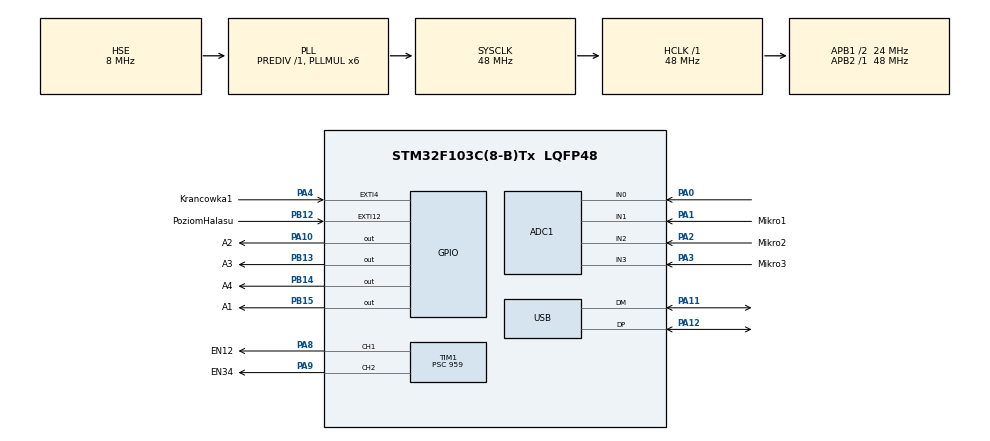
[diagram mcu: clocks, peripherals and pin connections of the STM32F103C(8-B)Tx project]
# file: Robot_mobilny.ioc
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ADC1.Channel-1\#ChannelRegularConversion=ADC_CHANNEL_0
ADC1.Channel-10\#ChannelRegularConversion=ADC_CHANNEL_3
ADC1.Channel-6\#ChannelRegularConversion=ADC_CHANNEL_1
ADC1.Channel-9\#ChannelRegularConversion=ADC_CHANNEL_2
ADC1.ContinuousConvMode=ENABLE
ADC1.EnableAnalogWatchDog=false
ADC1.EnableRegularConversion=ENABLE
ADC1.NbrOfConversion=4
ADC1.NbrOfConversionFlag=1
ADC1.Rank-1\#ChannelRegularConversion=1
ADC1.Rank-10\#ChannelRegularConversion=4
ADC1.Rank-6\#ChannelRegularConversion=2
ADC1.Rank-9\#ChannelRegularConversion=3
ADC1.SamplingTime-1\#ChannelRegularConversion=ADC_SAMPLETIME_71CYCLES_5
ADC1.SamplingTime-10\#ChannelRegularConversion=ADC_SAMPLETIME_71CYCLES_5
ADC1.SamplingTime-6\#ChannelRegularConversion=ADC_SAMPLETIME_71CYCLES_5
ADC1.SamplingTime-9\#ChannelRegularConversion=ADC_SAMPLETIME_71CYCLES_5
ADC1.master=1
Dma.ADC1.0.Direction=DMA_PERIPH_TO_MEMORY
Dma.ADC1.0.Instance=DMA1_Channel1
Dma.ADC1.0.MemDataAlignment=DMA_MDATAALIGN_WORD
Dma.ADC1.0.MemInc=DMA_MINC_ENABLE
Dma.ADC1.0.Mode=DMA_CIRCULAR
Dma.ADC1.0.PeriphDataAlignment=DMA_PDATAALIGN_BYTE
Dma.ADC1.0.PeriphInc=DMA_PINC_DISABLE
Dma.ADC1.0.Priority=DMA_PRIORITY_LOW
Dma.Request0=ADC1
Mcu.Family=STM32F1
Mcu.Name=STM32F103C(8-B)Tx
Mcu.Package=LQFP48
NVIC.DMA1_Channel1_IRQn=true\:0\:0\:false\:false\:true\:false\:true
NVIC.EXTI15_10_IRQn=true\:0\:0\:false\:false\:true\:true\:true
NVIC.EXTI4_IRQn=true\:0\:0\:false\:false\:true\:true\:true
NVIC.PriorityGroup=NVIC_PRIORITYGROUP_4
NVIC.USB_LP_CAN1_RX0_IRQn=true\:0\:0\:false\:false\:true\:false\:true
PA0-WKUP.Signal=ADCx_IN0
PA1.GPIO_Label=Mikro1
PA1.Signal=ADCx_IN1
PA10.GPIO_Label=A2
PA10.GPIO_PuPd=GPIO_PULLDOWN
PA10.PinState=GPIO_PIN_SET
PA10.Signal=GPIO_Output
PA11.Mode=Device
PA11.Signal=USB_DM
PA12.Mode=Device
PA12.Signal=USB_DP
PA13.Mode=Serial_Wire
PA13.Signal=SYS_JTMS-SWDIO
PA14.Mode=Serial_Wire
PA14.Signal=SYS_JTCK-SWCLK
PA2.GPIO_Label=Mikro2
PA2.Signal=ADCx_IN2
PA3.GPIO_Label=Mikro3
PA3.Signal=ADCx_IN3
PA4.GPIO_Label=Krancowka1
PA4.GPIO_ModeDefaultEXTI=GPIO_MODE_IT_FALLING
PA4.GPIO_PuPd=GPIO_PULLUP
PA4.Signal=GPXTI4
PA8.GPIO_Label=EN12
PA8.Signal=S_TIM1_CH1
PA9.GPIO_Label=EN34
PA9.Signal=S_TIM1_CH2
PB12.GPIO_Label=PoziomHalasu
PB12.GPIO_ModeDefaultEXTI=GPIO_MODE_IT_FALLING
PB12.GPIO_PuPd=GPIO_PULLUP
PB12.Signal=GPXTI12
PB13.GPIO_Label=A3
PB13.GPIO_PuPd=GPIO_PULLDOWN
PB13.PinState=GPIO_PIN_SET
PB13.Signal=GPIO_Output
PB14.GPIO_Label=A4
PB14.GPIO_PuPd=GPIO_PULLDOWN
PB14.PinState=GPIO_PIN_SET
PB14.Signal=GPIO_Output
PB15.GPIO_Label=A1
PB15.GPIO_ModeDefaultOutputPP=GPIO_MODE_OUTPUT_PP
PB15.GPIO_PuPd=GPIO_PULLDOWN
PB15.PinState=GPIO_PIN_SET
PB15.Signal=GPIO_Output
PD0-OSC_IN.Mode=HSE-External-Oscillator
PD0-OSC_IN.Signal=RCC_OSC_IN
PD1-OSC_OUT.Mode=HSE-External-Oscillator
PD1-OSC_OUT.Signal=RCC_OSC_OUT
ProjectManager.HeapSize=0x200
ProjectManager.StackSize=0x400
ProjectManager.TargetToolchain=TrueSTUDIO
RCC.ADCPresc=RCC_ADCPCLK2_DIV4
RCC.AHBFreq_Value=48000000
RCC.APB1CLKDivider=RCC_HCLK_DIV2
RCC.APB1Freq_Value=24000000
RCC.APB1TimFreq_Value=48000000
RCC.APB2Freq_Value=48000000
RCC.APB2TimFreq_Value=48000000
RCC.HCLKFreq_Value=48000000
RCC.PLLMUL=RCC_PLL_MUL6
RCC.SYSCLKFreq_VALUE=48000000
RCC.SYSCLKSource=RCC_SYSCLKSOURCE_PLLCLK
RCC.USBFreq_Value=48000000
SH.ADCx_IN0.0=ADC1_IN0,IN0
SH.ADCx_IN1.0=ADC1_IN1,IN1
SH.ADCx_IN2.0=ADC1_IN2,IN2
SH.ADCx_IN3.0=ADC1_IN3,IN3
SH.S_TIM1_CH1.0=TIM1_CH1,PWM Generation1 CH1
SH.S_TIM1_CH2.0=TIM1_CH2,PWM Generation2 CH2
TIM1.Channel-PWM\ Generation1\ CH1=TIM_CHANNEL_1
TIM1.Channel-PWM\ Generation2\ CH2=TIM_CHANNEL_2
TIM1.Period=999
TIM1.Prescaler=959
USB_DEVICE.CLASS_NAME_FS=CDC
USB_DEVICE.VirtualMode=Cdc
USB_DEVICE.VirtualModeFS=Cdc_FS
VP_TIM1_VS_ClockSourceINT.Mode=Internal
VP_USB_DEVICE_VS_USB_DEVICE_CDC_FS.Mode=CDC_FS
board=custom

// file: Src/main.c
/* USER CODE BEGIN Header */
/**
  ******************************************************************************
  * @file           : main.c
  * @brief          : Main program body
  ******************************************************************************
  * @attention
  *
  * <h2><center>&copy; Copyright (c) 2019 STMicroelectronics.
  * All rights reserved.</center></h2>
  *
  * This software component is licensed by ST under BSD 3-Clause license,
  * the "License"; You may not use this file except in compliance with the
  * License. You may obtain a copy of the License at:
  *                        opensource.org/licenses/BSD-3-Clause
  *
  ******************************************************************************
  */
/* USER CODE END Header */

#include "main.h"
#include "adc.h"
#include "dma.h"
#include "tim.h"
#include "usb_device.h"
#include "gpio.h"

/* USER CODE BEGIN Includes */
#include "usbd_cdc_if.h"
/* USER CODE END Includes */

/* USER CODE BEGIN PV */
//Zmienne przycisk************************************
volatile GPIO_PinState StanPrzycisku;
volatile GPIO_PinState PoprzedniStanPrzycisku = GPIO_PIN_SET;
volatile uint32_t PoprzedniCzasPrzycisku;

//****************************************************
//Zmiana stanu przycisku2*****************************
GPIO_PinState StanPrzycisku2;
GPIO_PinState PoprzedniStanPrzycisku2 = GPIO_PIN_SET;
uint32_t PoprzedniCzasPrzycisku2;
//***************************************************

const uint16_t ProgiHalasu[] = { 50, 100, 150, 250, 300};
volatile uint8_t KtoryProgHalasu;
uint32_t adc[4];
uint32_t adc1,adc2,adc3,adc4;
/* USER CODE END PV */

void SystemClock_Config(void);
/* USER CODE BEGIN PFP */

int adc_read(uint32_t channel)
{

	 ADC_ChannelConfTypeDef adc_ch;
	 adc_ch.Channel = channel;

	 adc_ch.SamplingTime = ADC_SAMPLETIME_71CYCLES_5;
	 adc_ch.Rank = ADC_REGULAR_RANK_1;

	 HAL_ADC_ConfigChannel(&hadc1, &adc_ch);

	 HAL_ADC_Start(&hadc1);
	 HAL_ADC_PollForConversion(&hadc1, 100);

	 return HAL_ADC_GetValue(&hadc1);
}

void ruchPrzod(uint16_t v, uint16_t t){

	HAL_GPIO_WritePin(A1_GPIO_Port, A1_Pin, GPIO_PIN_RESET);
	HAL_GPIO_WritePin(A2_GPIO_Port, A2_Pin, GPIO_PIN_SET);
	HAL_GPIO_WritePin(A3_GPIO_Port, A3_Pin, GPIO_PIN_SET);
	HAL_GPIO_WritePin(A4_GPIO_Port, A4_Pin, GPIO_PIN_RESET);

	if(v > 1000) v = 1000;

	TIM1->CCR1  = v;
	TIM1->CCR2 = v;

	for(int i=0; i<t; i++){
		HAL_Delay(1);
	}

	TIM1->CCR1 = 0;
	TIM1->CCR2 = 0;

}

void obrot_lewo(uint16_t v, uint16_t t)
{
	   HAL_GPIO_WritePin(A1_GPIO_Port, A1_Pin, GPIO_PIN_SET);
	   HAL_GPIO_WritePin(A2_GPIO_Port, A2_Pin, GPIO_PIN_RESET);
	   HAL_GPIO_WritePin(A3_GPIO_Port, A3_Pin, GPIO_PIN_SET);
	   HAL_GPIO_WritePin(A4_GPIO_Port, A4_Pin, GPIO_PIN_RESET);

	if(v > 1000) v = 1000;

	TIM1->CCR1  = v;
	TIM1->CCR2 = v;

	for(int i=0; i<t; i++){
		HAL_Delay(1);

	}

	TIM1->CCR1 = 0;
	TIM1->CCR2 = 0;

}

void obrot_prawo(uint16_t v, uint16_t t){
	   HAL_GPIO_WritePin(A1_GPIO_Port, A1_Pin, GPIO_PIN_RESET);
	   HAL_GPIO_WritePin(A2_GPIO_Port, A2_Pin, GPIO_PIN_SET);
	   HAL_GPIO_WritePin(A3_GPIO_Port, A3_Pin, GPIO_PIN_RESET);
	   HAL_GPIO_WritePin(A4_GPIO_Port, A4_Pin, GPIO_PIN_SET);

		if(v>1000) v = 1000;
		TIM1->CCR1  = v;
		TIM1->CCR2 = v;
		for(int i=0; i<t; i++){
			HAL_Delay(1);

		}
		TIM1->CCR1 = 0;
		TIM1->CCR2 = 0;

}
void obrot180(){
obrot_lewo(1000,2000);
}

/* USER CODE END PFP */

int main(void)
{

  /* MCU Configuration--------------------------------------------------------*/

  /* Reset of all peripherals, Initializes the Flash interface and the Systick. */
  HAL_Init();

  /* Configure the system clock */
  SystemClock_Config();

  /* Initialize all configured peripherals */
  MX_GPIO_Init();
  MX_DMA_Init();
  MX_ADC1_Init();
  MX_USB_DEVICE_Init();
  MX_TIM1_Init();
  /* USER CODE BEGIN 2 */

  //HAL_ADCEx_Calibration_Start(&hadc1);

  //HAL_TIM_Base_Start(&htim1);
  HAL_TIM_PWM_Start(&htim1, TIM_CHANNEL_1);
  HAL_TIM_PWM_Start(&htim1, TIM_CHANNEL_2);
  HAL_ADC_Start_DMA(&hadc1,adc,4);

  //HAL_GPIO_WritePin(Test_GPIO_Port, Test_Pin, GPIO_PIN_SET);

  char DataToSend[100]; // Tablica zawierajaca dane do wyslania
  uint8_t MessageLength = 0; // Zawiera dlugosc wysylanej wiadomosci

  /*TIM1->CCR1 = 900;
  TIM1->CCR2 = 0;

  HAL_Delay(2000);

  TIM1->CCR1 = 0;
  TIM1->CCR2 = 900;

  HAL_Delay(2000);

  TIM1->CCR1 = 900;
  TIM1->CCR2 = 900;
*/
  //670 -> obrot kola o 360 kolo r = 30mm
  //410 (moze 400) -> obrot robota o 90 stopni przelicznik 4,56 (moze 4,45)

  KtoryProgHalasu = 0;

  uint16_t WartoscMax = 0;
  uint8_t MikrofonMax = 0;
  uint16_t Tymczasowa = 0;
  /* USER CODE END 2 */

  /* Infinite loop */
  /* USER CODE BEGIN WHILE */
  while (1)
  {

/*
		OdczytanyStanPrzycisku = HAL_GPIO_ReadPin(Poziom_halasu_GPIO_Port, Poziom_halasu_Pin);

		if (OdczytanyStanPrzycisku != PoprzedniStanPrzycisku)
		{
			PoprzedniCzasPrzycisku = HAL_GetTick();
		}

		if ((HAL_GetTick() - PoprzedniCzasPrzycisku) > 10)
		{
			if (OdczytanyStanPrzycisku != StanPrzycisku)
			{
				StanPrzycisku = OdczytanyStanPrzycisku;

				if (StanPrzycisku == GPIO_PIN_RESET)
				{
					KtoryProgHalasu = (KtoryProgHalasu + 1)%5;
					PoprzedniCzasPrzycisku = HAL_GetTick();

				}
			}
		}

		PoprzedniStanPrzycisku = OdczytanyStanPrzycisku;*/

	  if(adc[0] > ProgiHalasu[KtoryProgHalasu])
	  {
			obrot_prawo(1000, 615);
			HAL_Delay(30);
			ruchPrzod(1000, 2010);
			HAL_Delay(30);

		} else if (adc[1] > ProgiHalasu[KtoryProgHalasu]) {
			obrot_lewo(1000, 615);
			HAL_Delay(30);
			ruchPrzod(1000, 2010);
			HAL_Delay(30);

		} else if (adc[2] > ProgiHalasu[KtoryProgHalasu]) {
			obrot_lewo(1000, 205);
			HAL_Delay(30);
			ruchPrzod(1000, 2010);
			HAL_Delay(30);
			;
		} else if (adc[3] > ProgiHalasu[KtoryProgHalasu]) {
			obrot_prawo(1000, 205);
			HAL_Delay(30);
			ruchPrzod(1000, 2010);
			HAL_Delay(30);

		}

////
//	  __disable_irq();
//	  	WartoscMax = 0;
//	  	MikrofonMax = 0;
//		adc1 = adc[0];
//		adc2 = adc[1];
//
//	  	adc3=adc[2];
//	  	adc4=adc[3];
//
//	  	//Tymczasowa = adc[0];
//	  	if(adc1 > ProgiHalasu[KtoryProgHalasu] && WartoscMax < adc1)
//		{
//	  		WartoscMax = adc1;
//	  		MikrofonMax = 1;
//		}
//
//	  	//Tymczasowa = adc[1];
//	  	if(adc2 > ProgiHalasu[KtoryProgHalasu] && WartoscMax < adc2)
//		{
//	  		WartoscMax = adc2;
//			MikrofonMax = 2;
//		}
//
//	  	//Tymczasowa = adc[2];
//	  	if(adc3 > ProgiHalasu[KtoryProgHalasu] && WartoscMax < adc3)
//		{
//	  		WartoscMax = adc3;
//			MikrofonMax = 3;
//		}
//
//	  	//Tymczasowa = adc[3];
//	  	if(adc4 > ProgiHalasu[KtoryProgHalasu] && WartoscMax < adc4)
//		{
//	  		WartoscMax = adc4;
//			MikrofonMax = 4;
//		}
//
//
//	  	switch(MikrofonMax)
//	  	{
//			case 1:
//				obrot_prawo(1000, 615);
//				HAL_Delay(30);
//				break;
//
//			case 2:
//				obrot_lewo(1000, 615);
//				HAL_Delay(30);
//				break;
//
//			case 3:
//				obrot_lewo(1000, 205);
//				HAL_Delay(30);
//				break;
//
//			case 4:
//				obrot_prawo(1000, 205);
//				HAL_Delay(30);
//				break;
//
//			default:
//				break;
//	  	}
//	  	 __enable_irq();
////
//HAL_ADC_Start_DMA(&hadc1,adc,4);
    /* USER CODE END WHILE */

  }
}

void SystemClock_Config(void)
{
  RCC_OscInitTypeDef RCC_OscInitStruct = {0};
  RCC_ClkInitTypeDef RCC_ClkInitStruct = {0};
  RCC_PeriphCLKInitTypeDef PeriphClkInit = {0};

  /** Initializes the CPU, AHB and APB busses clocks
  */
  RCC_OscInitStruct.OscillatorType = RCC_OSCILLATORTYPE_HSE;
  RCC_OscInitStruct.HSEState = RCC_HSE_ON;
  RCC_OscInitStruct.HSEPredivValue = RCC_HSE_PREDIV_DIV1;
  RCC_OscInitStruct.HSIState = RCC_HSI_ON;
  RCC_OscInitStruct.PLL.PLLState = RCC_PLL_ON;
  RCC_OscInitStruct.PLL.PLLSource = RCC_PLLSOURCE_HSE;
  RCC_OscInitStruct.PLL.PLLMUL = RCC_PLL_MUL6;
  if (HAL_RCC_OscConfig(&RCC_OscInitStruct) != HAL_OK)
  {
    Error_Handler();
  }
  /** Initializes the CPU, AHB and APB busses clocks
  */
  RCC_ClkInitStruct.ClockType = RCC_CLOCKTYPE_HCLK|RCC_CLOCKTYPE_SYSCLK
                              |RCC_CLOCKTYPE_PCLK1|RCC_CLOCKTYPE_PCLK2;
  RCC_ClkInitStruct.SYSCLKSource = RCC_SYSCLKSOURCE_PLLCLK;
  RCC_ClkInitStruct.AHBCLKDivider = RCC_SYSCLK_DIV1;
  RCC_ClkInitStruct.APB1CLKDivider = RCC_HCLK_DIV2;
  RCC_ClkInitStruct.APB2CLKDivider = RCC_HCLK_DIV1;

  if (HAL_RCC_ClockConfig(&RCC_ClkInitStruct, FLASH_LATENCY_1) != HAL_OK)
  {
    Error_Handler();
  }
  PeriphClkInit.PeriphClockSelection = RCC_PERIPHCLK_ADC|RCC_PERIPHCLK_USB;
  PeriphClkInit.AdcClockSelection = RCC_ADCPCLK2_DIV4;
  PeriphClkInit.UsbClockSelection = RCC_USBCLKSOURCE_PLL;
  if (HAL_RCCEx_PeriphCLKConfig(&PeriphClkInit) != HAL_OK)
  {
    Error_Handler();
  }
}

/* USER CODE BEGIN 4 */

void HAL_GPIO_EXTI_Callback(uint16_t GPIO_Pin)
{
	GPIO_PinState OdczytanyStanPrzycisku;
	GPIO_PinState OdczytanyStanPrzycisku2;

	if(GPIO_Pin == Krancowka1_Pin)
	{
		HAL_NVIC_DisableIRQ(EXTI4_IRQn);

		OdczytanyStanPrzycisku = HAL_GPIO_ReadPin( Krancowka1_GPIO_Port,  Krancowka1_Pin);

		  if (StanPrzycisku == GPIO_PIN_RESET)
		  {

			  TIM1->CCR1 = 0;
			  TIM1->CCR2 = 0;

		  }

		PoprzedniStanPrzycisku = OdczytanyStanPrzycisku;

		HAL_NVIC_SetPriority(EXTI4_IRQn, 0, 0);
		HAL_NVIC_EnableIRQ(EXTI4_IRQn);
	}

	if(GPIO_Pin == PoziomHalasu_Pin)
	{
		HAL_NVIC_DisableIRQ(EXTI15_10_IRQn);

		OdczytanyStanPrzycisku2 = HAL_GPIO_ReadPin( PoziomHalasu_GPIO_Port,  PoziomHalasu_Pin);

		  if (StanPrzycisku2 == GPIO_PIN_RESET)
		  {
			  KtoryProgHalasu = (KtoryProgHalasu + 1)%5;

		  }

		PoprzedniStanPrzycisku2 = OdczytanyStanPrzycisku2;

		HAL_NVIC_SetPriority(EXTI15_10_IRQn, 0, 0);
		HAL_NVIC_EnableIRQ(EXTI15_10_IRQn);
	}
}

/* USER CODE END 4 */

void Error_Handler(void)
{
}

/************************ (C) COPYRIGHT STMicroelectronics *****END OF FILE****/
